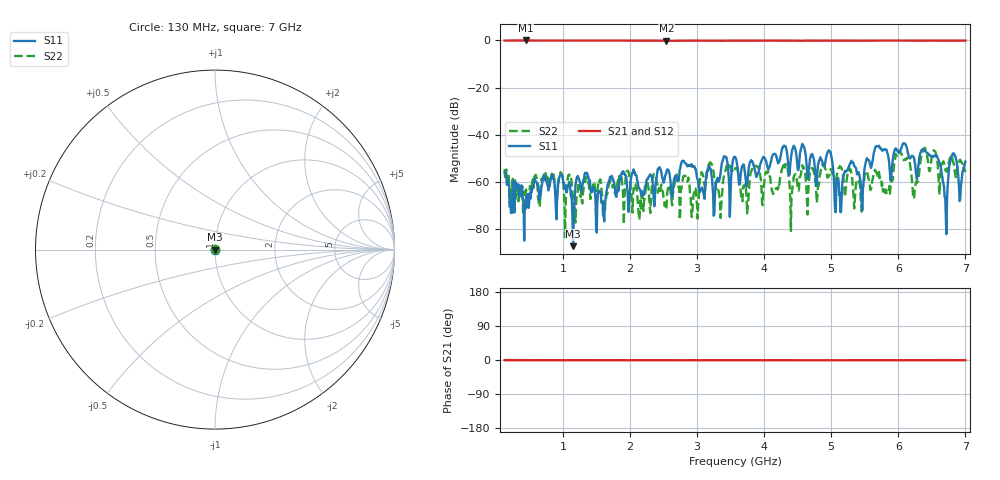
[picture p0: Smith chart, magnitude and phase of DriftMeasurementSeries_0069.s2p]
# Hz S RI R 50.000000
! Metas.Vna.Tools, 2.8.8664.20301
! Metas.Vna.Data, 2.8.8664.20285
! Created: UTC 2024.02.11 10:08:35
! FREQ  re:S1,1  im:S1,1  re:S2,1  im:S2,1  re:S1,2  im:S1,2  re:S2,2  im:S2,2
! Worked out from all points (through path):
!   801 points, 130 MHz to 7 GHz, reference 50 ohm
!   highest |S21| = -0.02 dB at 447.7 MHz (marker M1); lowest = -0.2 dB at 2.543 GHz (marker M2)
!   lowest |S11| = -87.3 dB at 1.152 GHz (marker M3), VSWR 1.00, Z = 50 + j0.00425 ohm
!   |S11| at or under -10 dB: start of sweep to end of sweep
!   |S22| runs from -83.5 to -45.6 dB; largest |S21 - S12| = 0.02
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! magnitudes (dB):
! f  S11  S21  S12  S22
! 130 MHz  -55.9  -0.1  0.0  -54.6
! 447.7 MHz  -70.2  0.0  0.0  -63.2
! 971.6 MHz  -57.0  0.0  0.0  -56.1
! 1.152 GHz  -87.3  -0.1  0.0  -66.9
! 1.281 GHz  -62.0  -0.1  0.0  -68.2
! 1.607 GHz  -74.1  -0.1  0.0  -74.5
! 2.423 GHz  -54.3  -0.1  0.0  -63.9
! 2.543 GHz  -55.9  -0.2  0.0  -71.4
! 3.264 GHz  -67.0  -0.1  0.0  -59.4
! 3.565 GHz  -49.8  -0.1  0.0  -54.4
! 3.737 GHz  -62.1  -0.1  0.0  -66.2
! 4.716 GHz  -48.2  -0.1  0.0  -54.2
! 4.973 GHz  -46.9  -0.1  0.0  -57.2
! 5.128 GHz  -64.9  -0.1  0.0  -53.3
! 5.858 GHz  -50.6  -0.1  0.0  -63.8
! 5.995 GHz  -47.2  -0.1  0.0  -46.8
! 6.244 GHz  -51.5  -0.1  0.0  -63.0
! 6.373 GHz  -46.3  -0.1  0.0  -46.1
! 6.571 GHz  -48.8  -0.1  0.0  -49.2
! 6.699 GHz  -66.7  -0.1  0.0  -54.6
! 6.802 GHz  -48.9  -0.1  0.0  -48.9
! 7 GHz  -51.4  -0.1  0.0  -55.9
